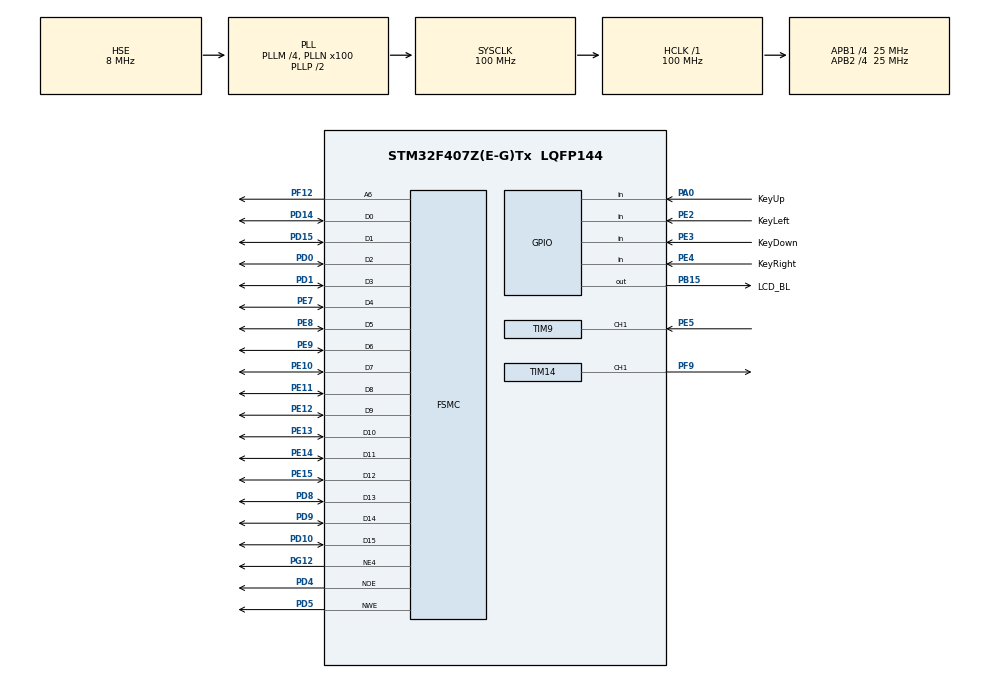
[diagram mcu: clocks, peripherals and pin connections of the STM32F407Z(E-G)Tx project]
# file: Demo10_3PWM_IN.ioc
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FSMC.AccessMode4=FSMC_ACCESS_MODE_A
FSMC.AddressSetupTime4=2
FSMC.BusTurnAroundDuration4=0
FSMC.DataSetupTime4=16
FSMC.ExtendedAccessMode4=FSMC_ACCESS_MODE_A
FSMC.ExtendedAddressSetupTime4=4
FSMC.ExtendedBusTurnAroundDuration4=0
FSMC.ExtendedDataSetupTime4=9
FSMC.ExtendedMode4=FSMC_EXTENDED_MODE_ENABLE
FSMC.NSBank4=FSMC_NORSRAM_BANK4
FSMC.WriteOperation4=FSMC_WRITE_OPERATION_ENABLE
Mcu.Family=STM32F4
Mcu.Name=STM32F407Z(E-G)Tx
Mcu.Package=LQFP144
NVIC.PriorityGroup=NVIC_PRIORITYGROUP_4
NVIC.TIM1_BRK_TIM9_IRQn=true\:0\:0\:false\:false\:true\:true\:true\:true
PA0-WKUP.GPIO_Label=KeyUp
PA0-WKUP.GPIO_PuPd=GPIO_PULLDOWN
PA0-WKUP.Signal=GPIO_Input
PA13.Mode=Serial_Wire
PA13.Signal=SYS_JTMS-SWDIO
PA14.Mode=Serial_Wire
PA14.Signal=SYS_JTCK-SWCLK
PB15.GPIO_Label=LCD_BL
PB15.PinState=GPIO_PIN_RESET
PB15.Signal=GPIO_Output
PC14-OSC32_IN.Mode=LSE-External-Oscillator
PC14-OSC32_IN.Signal=RCC_OSC32_IN
PC15-OSC32_OUT.Mode=LSE-External-Oscillator
PC15-OSC32_OUT.Signal=RCC_OSC32_OUT
PD0.Signal=FSMC_D2_DA2
PD1.Signal=FSMC_D3_DA3
PD10.Signal=FSMC_D15_DA15
PD14.Signal=FSMC_D0_DA0
PD15.Signal=FSMC_D1_DA1
PD4.Signal=FSMC_NOE
PD5.Signal=FSMC_NWE
PD8.Signal=FSMC_D13_DA13
PD9.Signal=FSMC_D14_DA14
PE10.Signal=FSMC_D7_DA7
PE11.Signal=FSMC_D8_DA8
PE12.Signal=FSMC_D9_DA9
PE13.Signal=FSMC_D10_DA10
PE14.Signal=FSMC_D11_DA11
PE15.Signal=FSMC_D12_DA12
PE2.GPIO_Label=KeyLeft
PE2.GPIO_PuPd=GPIO_PULLUP
PE2.Signal=GPIO_Input
PE3.GPIO_Label=KeyDown
PE3.GPIO_PuPd=GPIO_PULLUP
PE3.Signal=GPIO_Input
PE4.GPIO_Label=KeyRight
PE4.GPIO_PuPd=GPIO_PULLUP
PE4.Signal=GPIO_Input
PE5.Signal=S_TIM9_CH1
PE7.Signal=FSMC_D4_DA4
PE8.Signal=FSMC_D5_DA5
PE9.Signal=FSMC_D6_DA6
PF12.Signal=FSMC_A6
PF9.Signal=S_TIM14_CH1
PG12.Mode=NorPsramChipSelect4_4
PG12.Signal=FSMC_NE4
PH0-OSC_IN.Mode=HSE-External-Oscillator
PH0-OSC_IN.Signal=RCC_OSC_IN
PH1-OSC_OUT.Mode=HSE-External-Oscillator
PH1-OSC_OUT.Signal=RCC_OSC_OUT
ProjectManager.HeapSize=0x200
ProjectManager.StackSize=0x400
ProjectManager.TargetToolchain=STM32CubeIDE
RCC.48MHZClocksFreq_Value=50000000
RCC.AHBFreq_Value=100000000
RCC.APB1CLKDivider=RCC_HCLK_DIV4
RCC.APB1Freq_Value=25000000
RCC.APB1TimFreq_Value=50000000
RCC.APB2CLKDivider=RCC_HCLK_DIV4
RCC.APB2Freq_Value=25000000
RCC.APB2TimFreq_Value=50000000
RCC.CortexFreq_Value=100000000
RCC.FLatency=FLASH_LATENCY_3
RCC.HCLKFreq_Value=100000000
RCC.HSE_VALUE=8000000
RCC.HSI_VALUE=16000000
RCC.PLLM=4
RCC.PLLN=100
RCC.PLLSourceVirtual=RCC_PLLSOURCE_HSE
RCC.SYSCLKFreq_VALUE=100000000
RCC.SYSCLKSource=RCC_SYSCLKSOURCE_PLLCLK
RCC.VCOOutputFreq_Value=200000000
SH.FSMC_A6.0=FSMC_A6,A6_4
SH.FSMC_D0_DA0.0=FSMC_D0,16b-d4
SH.FSMC_D10_DA10.0=FSMC_D10,16b-d4
SH.FSMC_D11_DA11.0=FSMC_D11,16b-d4
SH.FSMC_D12_DA12.0=FSMC_D12,16b-d4
SH.FSMC_D13_DA13.0=FSMC_D13,16b-d4
SH.FSMC_D14_DA14.0=FSMC_D14,16b-d4
SH.FSMC_D15_DA15.0=FSMC_D15,16b-d4
SH.FSMC_D1_DA1.0=FSMC_D1,16b-d4
SH.FSMC_D2_DA2.0=FSMC_D2,16b-d4
SH.FSMC_D3_DA3.0=FSMC_D3,16b-d4
SH.FSMC_D4_DA4.0=FSMC_D4,16b-d4
SH.FSMC_D5_DA5.0=FSMC_D5,16b-d4
SH.FSMC_D6_DA6.0=FSMC_D6,16b-d4
SH.FSMC_D7_DA7.0=FSMC_D7,16b-d4
SH.FSMC_D8_DA8.0=FSMC_D8,16b-d4
SH.FSMC_D9_DA9.0=FSMC_D9,16b-d4
SH.FSMC_NOE.0=FSMC_NOE,Lcd4
SH.FSMC_NWE.0=FSMC_NWE,Lcd4
SH.S_TIM14_CH1.0=TIM14_CH1,PWM Generation1 CH1
SH.S_TIM9_CH1.0=TIM9_CH1,PWM_Input_1
TIM14.Channel=TIM_CHANNEL_1
TIM14.Period=199
TIM14.Prescaler=4999
TIM14.Pulse=50
TIM9.Period=49999
TIM9.Prescaler=4999
VP_TIM14_VS_ClockSourceINT.Mode=Enable_Timer
board=custom

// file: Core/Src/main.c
/* USER CODE BEGIN Header */
/**
  ******************************************************************************
  * @file           : main.c
  * @brief          : Main program body
  ******************************************************************************
  * @attention
  *
  * Copyright (c) 2022 STMicroelectronics.
  * All rights reserved.
  *
  * This software is licensed under terms that can be found in the LICENSE file
  * in the root directory of this software component.
  * If no LICENSE file comes with this software, it is provided AS-IS.
  *
  ******************************************************************************
  */
/* USER CODE END Header */
#include "main.h"
#include "tim.h"
#include "gpio.h"
#include "fsmc.h"

/* USER CODE BEGIN Includes */
#include "lcd.h"
#include "keyled.h"
#include <stdio.h>
/* USER CODE END Includes */

void SystemClock_Config(void);

int main(void)
{

  /* MCU Configuration--------------------------------------------------------*/

  /* Reset of all peripherals, Initializes the Flash interface and the Systick. */
  HAL_Init();

  /* Configure the system clock */
  SystemClock_Config();

  /* Initialize all configured peripherals */
  MX_GPIO_Init();
  MX_FSMC_Init();
  MX_TIM9_Init();
  MX_TIM14_Init();
  /* USER CODE BEGIN 2 */
  lcd_init();
  lcd_show_str(0, 0,   16, "Demo10_3:PWM Input", RED);
  lcd_show_str(0, 20,  16, "TIM14 generate PWM on PF9(LED1)", RED);
  lcd_show_str(0, 40,  16, "TIM9 measure PWM on PE5", RED);
  lcd_show_str(0, 60,  16, "Please connect PE5 and PF9 by line", RED);
  lcd_show_str(0, 80,  16, "[1]KeyLeft to decrease pulse width", RED);
  lcd_show_str(0, 100, 16, "[2]KeyRight to increase pulse width", RED);

  HAL_TIM_Base_Start(&htim14);
  HAL_TIM_Base_Start(&htim9);
  HAL_TIM_IC_Start_IT(&htim9, TIM_CHANNEL_1);
  HAL_TIM_IC_Start_IT(&htim9, TIM_CHANNEL_2);
  HAL_TIMEx_PWMN_Start(&htim14, TIM_CHANNEL_1);
  /* USER CODE END 2 */

  /* Infinite loop */
  /* USER CODE BEGIN WHILE */
  while (1)
  {
	  KEYS curKey = ScanPressedKey(KEY_WAIT_ALWAYS);
	  uint32_t CCR = __HAL_TIM_GET_COMPARE(&htim14, TIM_CHANNEL_1);
	  if (curKey == KEY_LEFT) {
		  __HAL_TIM_SET_COMPARE(&htim14, TIM_CHANNEL_1, CCR - 5);
	  } else if (curKey == KEY_RIGHT) {
		  __HAL_TIM_SET_COMPARE(&htim14, TIM_CHANNEL_1, CCR + 5);
	  }
	  HAL_Delay(300);
    /* USER CODE END WHILE */

  }
}

void SystemClock_Config(void)
{
  RCC_OscInitTypeDef RCC_OscInitStruct = {0};
  RCC_ClkInitTypeDef RCC_ClkInitStruct = {0};

  /** Configure the main internal regulator output voltage
  */
  __HAL_RCC_PWR_CLK_ENABLE();
  __HAL_PWR_VOLTAGESCALING_CONFIG(PWR_REGULATOR_VOLTAGE_SCALE1);

  /** Initializes the RCC Oscillators according to the specified parameters
  * in the RCC_OscInitTypeDef structure.
  */
  RCC_OscInitStruct.OscillatorType = RCC_OSCILLATORTYPE_HSE;
  RCC_OscInitStruct.HSEState = RCC_HSE_ON;
  RCC_OscInitStruct.PLL.PLLState = RCC_PLL_ON;
  RCC_OscInitStruct.PLL.PLLSource = RCC_PLLSOURCE_HSE;
  RCC_OscInitStruct.PLL.PLLM = 4;
  RCC_OscInitStruct.PLL.PLLN = 100;
  RCC_OscInitStruct.PLL.PLLP = RCC_PLLP_DIV2;
  RCC_OscInitStruct.PLL.PLLQ = 4;
  if (HAL_RCC_OscConfig(&RCC_OscInitStruct) != HAL_OK)
  {
    Error_Handler();
  }

  /** Initializes the CPU, AHB and APB buses clocks
  */
  RCC_ClkInitStruct.ClockType = RCC_CLOCKTYPE_HCLK|RCC_CLOCKTYPE_SYSCLK
                              |RCC_CLOCKTYPE_PCLK1|RCC_CLOCKTYPE_PCLK2;
  RCC_ClkInitStruct.SYSCLKSource = RCC_SYSCLKSOURCE_PLLCLK;
  RCC_ClkInitStruct.AHBCLKDivider = RCC_SYSCLK_DIV1;
  RCC_ClkInitStruct.APB1CLKDivider = RCC_HCLK_DIV4;
  RCC_ClkInitStruct.APB2CLKDivider = RCC_HCLK_DIV4;

  if (HAL_RCC_ClockConfig(&RCC_ClkInitStruct, FLASH_LATENCY_3) != HAL_OK)
  {
    Error_Handler();
  }
}

/* USER CODE BEGIN 4 */
void HAL_TIM_IC_CaptureCallback(TIM_HandleTypeDef *htim) {
	uint16_t IC1_Width = __HAL_TIM_GET_COMPARE(&htim9, TIM_CHANNEL_1);
	uint16_t IC2_Pulse = __HAL_TIM_GET_COMPARE(&htim9, TIM_CHANNEL_2);
	if ((IC1_Width == 0) || (IC2_Pulse == 0)) {
		return;
	}
	char str[40];
	sprintf(str, "PWM width = %d", IC1_Width);
	lcd_show_str(0, 120, 16, str, RED);
	sprintf(str, "Pulse width = %d", IC2_Pulse);
	lcd_show_str(0, 140, 16, str, RED);

}
/* USER CODE END 4 */

void Error_Handler(void)
{
  __disable_irq();
  while (1)
  {
  }
}
